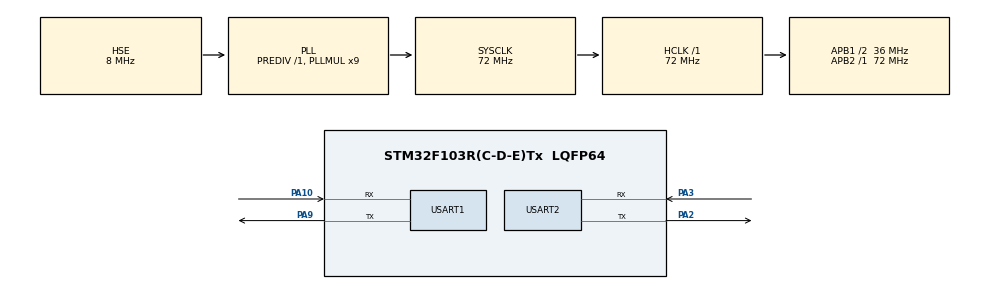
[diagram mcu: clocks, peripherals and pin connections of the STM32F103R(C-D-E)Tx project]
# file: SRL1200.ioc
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Dma.Request0=USART1_RX
Dma.Request1=USART1_TX
Dma.USART1_RX.0.Direction=DMA_PERIPH_TO_MEMORY
Dma.USART1_RX.0.Instance=DMA1_Channel5
Dma.USART1_RX.0.MemDataAlignment=DMA_MDATAALIGN_BYTE
Dma.USART1_RX.0.MemInc=DMA_MINC_ENABLE
Dma.USART1_RX.0.Mode=DMA_NORMAL
Dma.USART1_RX.0.PeriphDataAlignment=DMA_PDATAALIGN_BYTE
Dma.USART1_RX.0.PeriphInc=DMA_PINC_DISABLE
Dma.USART1_RX.0.Priority=DMA_PRIORITY_LOW
Dma.USART1_TX.1.Direction=DMA_MEMORY_TO_PERIPH
Dma.USART1_TX.1.Instance=DMA1_Channel4
Dma.USART1_TX.1.MemDataAlignment=DMA_MDATAALIGN_BYTE
Dma.USART1_TX.1.MemInc=DMA_MINC_ENABLE
Dma.USART1_TX.1.Mode=DMA_NORMAL
Dma.USART1_TX.1.PeriphDataAlignment=DMA_PDATAALIGN_BYTE
Dma.USART1_TX.1.PeriphInc=DMA_PINC_DISABLE
Dma.USART1_TX.1.Priority=DMA_PRIORITY_LOW
FREERTOS.Tasks01=defaultTask,0,128,StartDefaultTask,Default,NULL
Mcu.Family=STM32F1
Mcu.Name=STM32F103R(C-D-E)Tx
Mcu.Package=LQFP64
NVIC.DMA1_Channel4_IRQn=true\:5\:0\:false\:false\:true\:true\:false\:true
NVIC.DMA1_Channel5_IRQn=true\:5\:0\:false\:false\:true\:true\:false\:true
NVIC.PriorityGroup=NVIC_PRIORITYGROUP_4
NVIC.TIM6_IRQn=true\:0\:0\:false\:false\:true\:false\:false\:true
NVIC.TimeBase=TIM6_IRQn
NVIC.TimeBaseIP=TIM6
NVIC.USART1_IRQn=true\:5\:0\:false\:false\:true\:true\:true\:true
PA10.Mode=Asynchronous
PA10.Signal=USART1_RX
PA13.Mode=Serial_Wire
PA13.Signal=SYS_JTMS-SWDIO
PA14.Mode=Serial_Wire
PA14.Signal=SYS_JTCK-SWCLK
PA2.Mode=Asynchronous
PA2.Signal=USART2_TX
PA3.Mode=Asynchronous
PA3.Signal=USART2_RX
PA9.Mode=Asynchronous
PA9.Signal=USART1_TX
PD0-OSC_IN.Mode=HSE-External-Oscillator
PD0-OSC_IN.Signal=RCC_OSC_IN
PD1-OSC_OUT.Mode=HSE-External-Oscillator
PD1-OSC_OUT.Signal=RCC_OSC_OUT
ProjectManager.HeapSize=0x200
ProjectManager.StackSize=0x400
ProjectManager.TargetToolchain=MDK-ARM V5
RCC.AHBFreq_Value=72000000
RCC.APB1CLKDivider=RCC_HCLK_DIV2
RCC.APB1Freq_Value=36000000
RCC.APB1TimFreq_Value=72000000
RCC.APB2Freq_Value=72000000
RCC.APB2TimFreq_Value=72000000
RCC.HCLKFreq_Value=72000000
RCC.PLLMUL=RCC_PLL_MUL9
RCC.PLLSourceVirtual=RCC_PLLSOURCE_HSE
RCC.SYSCLKFreq_VALUE=72000000
RCC.SYSCLKSource=RCC_SYSCLKSOURCE_PLLCLK
RCC.USBFreq_Value=72000000
USART1.VirtualMode=VM_ASYNC
USART2.VirtualMode=VM_ASYNC
VP_FREERTOS_VS_CMSIS_V1.Mode=CMSIS_V1
VP_SYS_VS_tim6.Mode=TIM6
board=custom

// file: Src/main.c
/* USER CODE BEGIN Header */
/**
  ******************************************************************************
  * @file           : main.c
  * @brief          : Main program body
  ******************************************************************************
  * @attention
  *
  * <h2><center>&copy; Copyright (c) 2019 STMicroelectronics.
  * All rights reserved.</center></h2>
  *
  * This software component is licensed by ST under Ultimate Liberty license
  * SLA0044, the "License"; You may not use this file except in compliance with
  * the License. You may obtain a copy of the License at:
  *                             www.st.com/SLA0044
  *
  ******************************************************************************
  */
/* USER CODE END Header */

#include "main.h"
#include "cmsis_os.h"
#include "dma.h"
#include "usart.h"
#include "gpio.h"

void SystemClock_Config(void);
void MX_FREERTOS_Init(void);

int main(void)
{

  /* MCU Configuration--------------------------------------------------------*/

  /* Reset of all peripherals, Initializes the Flash interface and the Systick. */
  HAL_Init();

  /* Configure the system clock */
  SystemClock_Config();

  /* Initialize all configured peripherals */
  MX_GPIO_Init();
  MX_DMA_Init();
  MX_USART1_UART_Init();
  MX_USART2_UART_Init();

  /* Call init function for freertos objects (in freertos.c) */
  MX_FREERTOS_Init();

  /* Start scheduler */
  osKernelStart();

  /* We should never get here as control is now taken by the scheduler */

  /* Infinite loop */
  while (1)
  {

  }
}

void SystemClock_Config(void)
{
  RCC_OscInitTypeDef RCC_OscInitStruct = {0};
  RCC_ClkInitTypeDef RCC_ClkInitStruct = {0};

  /** Initializes the CPU, AHB and APB busses clocks
  */
  RCC_OscInitStruct.OscillatorType = RCC_OSCILLATORTYPE_HSE;
  RCC_OscInitStruct.HSEState = RCC_HSE_ON;
  RCC_OscInitStruct.HSEPredivValue = RCC_HSE_PREDIV_DIV1;
  RCC_OscInitStruct.HSIState = RCC_HSI_ON;
  RCC_OscInitStruct.PLL.PLLState = RCC_PLL_ON;
  RCC_OscInitStruct.PLL.PLLSource = RCC_PLLSOURCE_HSE;
  RCC_OscInitStruct.PLL.PLLMUL = RCC_PLL_MUL9;
  if (HAL_RCC_OscConfig(&RCC_OscInitStruct) != HAL_OK)
  {
    Error_Handler();
  }
  /** Initializes the CPU, AHB and APB busses clocks
  */
  RCC_ClkInitStruct.ClockType = RCC_CLOCKTYPE_HCLK|RCC_CLOCKTYPE_SYSCLK
                              |RCC_CLOCKTYPE_PCLK1|RCC_CLOCKTYPE_PCLK2;
  RCC_ClkInitStruct.SYSCLKSource = RCC_SYSCLKSOURCE_PLLCLK;
  RCC_ClkInitStruct.AHBCLKDivider = RCC_SYSCLK_DIV1;
  RCC_ClkInitStruct.APB1CLKDivider = RCC_HCLK_DIV2;
  RCC_ClkInitStruct.APB2CLKDivider = RCC_HCLK_DIV1;

  if (HAL_RCC_ClockConfig(&RCC_ClkInitStruct, FLASH_LATENCY_2) != HAL_OK)
  {
    Error_Handler();
  }
}

void HAL_TIM_PeriodElapsedCallback(TIM_HandleTypeDef *htim)
{
  if (htim->Instance == TIM6) {
    HAL_IncTick();
  }
}

void Error_Handler(void)
{
}

/************************ (C) COPYRIGHT STMicroelectronics *****END OF FILE****/

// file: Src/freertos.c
/* USER CODE BEGIN Header */
/**
  ******************************************************************************
  * File Name          : freertos.c
  * Description        : Code for freertos applications
  ******************************************************************************
  * @attention
  *
  * <h2><center>&copy; Copyright (c) 2019 STMicroelectronics.
  * All rights reserved.</center></h2>
  *
  * This software component is licensed by ST under Ultimate Liberty license
  * SLA0044, the "License"; You may not use this file except in compliance with
  * the License. You may obtain a copy of the License at:
  *                             www.st.com/SLA0044
  *
  ******************************************************************************
  */
/* USER CODE END Header */

#include "FreeRTOS.h"
#include "task.h"
#include "main.h"
#include "cmsis_os.h"

/* USER CODE BEGIN Includes */
#include <stdlib.h>

#include "usart.h"
#include "srl1200.h"
#include "data_buf.h"
/* USER CODE END Includes */

/* USER CODE BEGIN Variables */
Data_Buf_t sendDataPack;
Data_Buf_t recvDataPack;
/* USER CODE END Variables */
osThreadId defaultTaskHandle;

/* USER CODE BEGIN FunctionPrototypes */
void test00(void);
void test01(void);
void test02(void);
void test03(void);
/* USER CODE END FunctionPrototypes */

void StartDefaultTask(void const * argument);

void MX_FREERTOS_Init(void); /* (MISRA C 2004 rule 8.1) */

void MX_FREERTOS_Init(void) {

  /* Create the thread(s) */
  /* definition and creation of defaultTask */
  osThreadDef(defaultTask, StartDefaultTask, osPriorityNormal, 0, 128);
  defaultTaskHandle = osThreadCreate(osThread(defaultTask), NULL);

}

void StartDefaultTask(void const * argument)
{

  /* USER CODE BEGIN StartDefaultTask */
	__HAL_UART_ENABLE_IT(&huart1, UART_IT_IDLE);
  /* Infinite loop */

	DataBuf_Init(&sendDataPack);
	DataBuf_Init(&recvDataPack);
	SRL1200_Init();
	test00();
  for(;;)
  {
		osDelay(1000);
  }
  /* USER CODE END StartDefaultTask */
}

/* USER CODE BEGIN Application */
void test00(void)
{
//	printf("准备从 Boot 层切换到 App 层\r\n");
//	if(SRL1200_BootSwitchApp(&huart1) == -1)
//	{
//		printf("从 Boot 层切换到 App 层失败\r\n");
//	}
//	else
//	{
//		printf("成功从 Boot 层切换到 App 层\r\n");
//		printf("---------------------------------开始测试---------------------------------\r\n");
//		test02();
//	}
	test01();
}

void test01(void)
{
//	uint8_t buf = 0x60;
//	uint8_t buf[] = {0xAA, 0xAA, 0xBB, 0xBB, 0xCC, 0xCC, 0xDD, 0xDD};
//	uint8_t buf[] = {0x11, 0x11, 0x22, 0x22, 0x33, 0x33, 0x44, 0x44};
//	printf("------------------------------App层操作命令测试------------------------------\r\n");
//	printf("1.测试单标签的读操作\r\n");
//	printf("----------------------------------------------------------------------------\r\n");
//	SRL1200_ReadTagSingle(&huart1, 0x01E8, 0x10, 0x0014, 0, 0, NULL, 0, NULL, NULL);
//	printf("2.测试多标签的读操作\r\n");
//	printf("----------------------------------------------------------------------------\r\n");
//	SRL1200_ReadTagMultiple(&huart1, 0x00, 0, 0x00C8, 0, 0, 0, NULL, 0, NULL, NULL);
//	printf("3.测试写 EPC 操作\r\n");
//	printf("----------------------------------------------------------------------------\r\n");
//	SRL1200_WriteTagEPC(&huart1, 0x00C8, 0x00, 0, 0, 0, 0, NULL, 0, buf, 8, NULL, NULL);
//	printf("4.测试写 数据操作\r\n");
//	printf("----------------------------------------------------------------------------\r\n");
//	SRL1200_WriteTagData(&huart1, 0x03E8, 00, 0x01, 0x03, 0, 0, 0, NULL, 0, buf, 8, NULL, NULL);
//	printf("5.测试锁定或解锁标签操作\r\n");
//	printf("----------------------------------------------------------------------------\r\n");
//	SRL1200_LockOrUnlockTag(&huart1, 0x03E8, 00, 0x00, 0x02, 0x02, 0, 0, NULL, 0, NULL, NULL);
//	printf("6.测试杀死标签操作\r\n");
//	printf("----------------------------------------------------------------------------\r\n");
//	SRL1200_KillTag(&huart1, 0x03E8, 00, 0, 0, 0, 0, NULL, 0, NULL, NULL);
//	printf("7.测试读取标签数据操作\r\n");
//	printf("----------------------------------------------------------------------------\r\n");
//	SRL1200_ReadTagData(&huart1, 0x03E8, 0x00, 0, 0x02, 0x01, 0x02, 0, 0x10, 0x04, &buf, 1, NULL, NULL);
//	printf("8.测试读取标签保存的信息操作\r\n");
//	printf("----------------------------------------------------------------------------\r\n");
//	SRL1200_ReadSaveTagInfo(&huart1, 0x00BF, 0x00, NULL, NULL);
	printf("9.清楚标签缓冲操作\r\n");
	printf("----------------------------------------------------------------------------\r\n");
	SRL1200_ClearTagCache(&huart1, NULL, NULL);

}

void test02(void)
{
	printf("------------------------------App层设置命令测试------------------------------\r\n");
	printf("1.设置天线的配置\r\n");
	SRL1200_SetAntennaConfig(&huart1, 0x04,0x01,0x00, 0x03E8,0x0BB8, 0x01F4, 1000, NULL, NULL);
	printf("--------------------------------------------------------------------------\r\n");
	printf("2.设置当前标签的协议\r\n");
	SRL1200_SetCurrentTagProtocol(&huart1, 0x0005, 1000, NULL, NULL);
	printf("--------------------------------------------------------------------------\r\n");
	printf("3.设置 GPIO 的输出值\r\n");
	SRL1200_SetGPIOOutputValue(&huart1, 0x01, 0x01, 0x02, 0x01, 1000, NULL, NULL);
	printf("--------------------------------------------------------------------------\r\n");
	printf("4.设置功率模式\r\n");
	SRL1200_SetPowerMode(&huart1, 0x00, 1000, NULL, NULL);
	printf("--------------------------------------------------------------------------\r\n");
	printf("6.设置阅读器配置\r\n");
	SRL1200_SetCardReaderConfig(&huart1, 0x01, 0x00, 0x00, 1000, NULL, NULL);
	printf("--------------------------------------------------------------------------\r\n");
	printf("7.设置协议配置。\r\n");
	SRL1200_SetProtocolConfig(&huart1,  0x05, 0x12, 0x01, 0x03, 1000, NULL, NULL);
	printf("--------------------------------------------------------------------------\r\n");
}

void test03(void)
{
	printf("------------------------------App层获取命令测试------------------------------\r\n");
	printf("1.获取天线的配置信息\r\n");
	SRL1200_GetAntennaConfig(&huart1, 0x01, 1000, NULL, NULL);
	printf("--------------------------------------------------------------------------\r\n");
	printf("2.获取读发射功率信息。\r\n");
	SRL1200_GetReadTransmitPowerInfo(&huart1, 0x01, 1000, NULL, NULL);
	printf("--------------------------------------------------------------------------\r\n");
	printf("3.获取当前工作标签的协议\r\n");
	SRL1200_GetCurrentTagProtocol(&huart1, 1000, NULL, NULL);
	printf("--------------------------------------------------------------------------\r\n");
	printf("4.获取写发射功率信息\r\n");
	SRL1200_GetWriteTransmitPowerInfo(&huart1, 0x01, 1000, NULL, NULL);
	printf("--------------------------------------------------------------------------\r\n");
	printf("5.获取跳频表\r\n");
	SRL1200_GetFrequencyHoppingTable(&huart1, 0x00, 1000, NULL, NULL);
	printf("--------------------------------------------------------------------------\r\n");
	printf("6.获取当前GPIO的输入值\r\n");
	SRL1200_GetGIPIOInputValue(&huart1, 1000, NULL, NULL);
	printf("--------------------------------------------------------------------------\r\n");
	printf("7.获取当前频率的区域\r\n");
	SRL1200_GetCurrentFrequencyRegion(&huart1, 1000, NULL, NULL);
	printf("--------------------------------------------------------------------------\r\n");
	printf("8.功率的模式\r\n");
	SRL1200_GetPowerMode(&huart1, 1000, NULL, NULL);
	printf("--------------------------------------------------------------------------\r\n");
	printf("9.可用的标签协议\r\n");
	SRL1200_GetCanUseTagProcotol(&huart1, 1000, NULL, NULL);
	printf("--------------------------------------------------------------------------\r\n");
	printf("10.获取芯片当前的温度\r\n");
	SRL1200_GetCurentTemperature(&huart1, 1000, NULL, NULL);
	printf("--------------------------------------------------------------------------\r\n");

}
/* USER CODE END Application */

/************************ (C) COPYRIGHT STMicroelectronics *****END OF FILE****/
